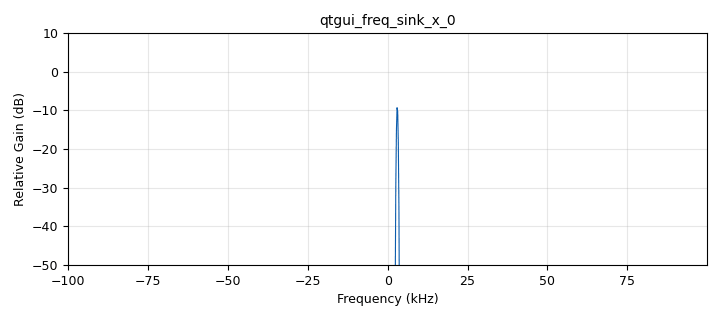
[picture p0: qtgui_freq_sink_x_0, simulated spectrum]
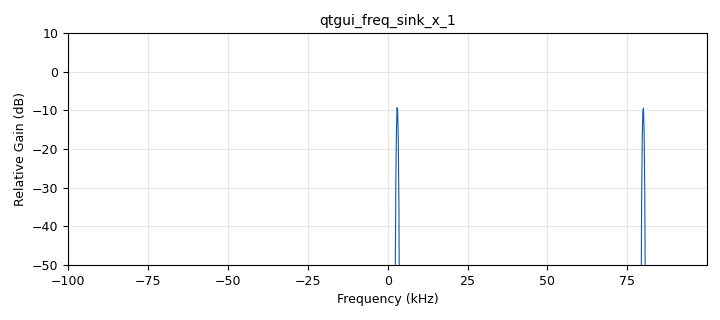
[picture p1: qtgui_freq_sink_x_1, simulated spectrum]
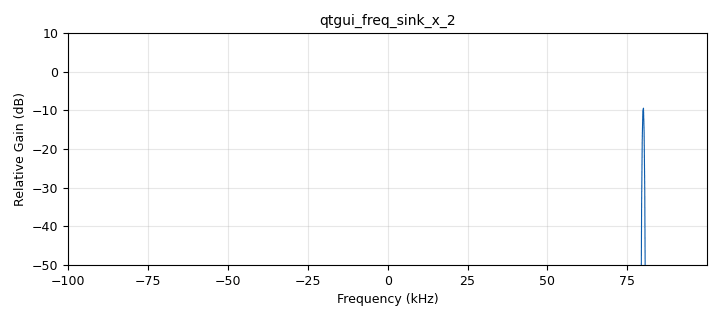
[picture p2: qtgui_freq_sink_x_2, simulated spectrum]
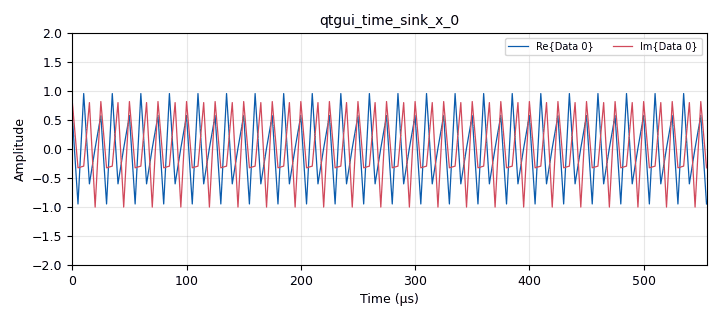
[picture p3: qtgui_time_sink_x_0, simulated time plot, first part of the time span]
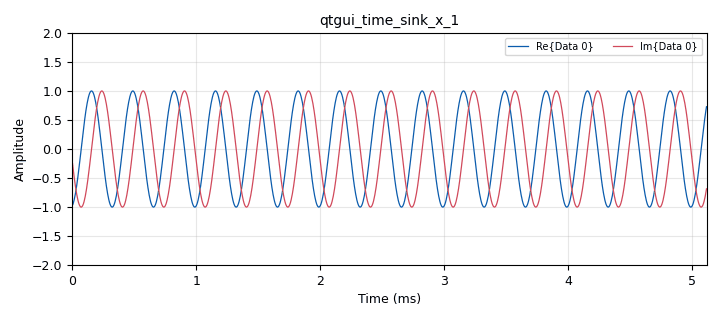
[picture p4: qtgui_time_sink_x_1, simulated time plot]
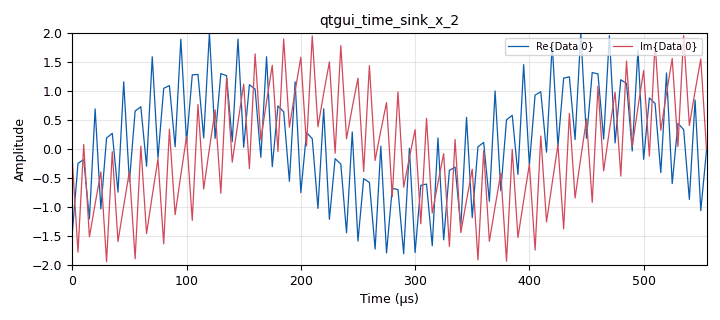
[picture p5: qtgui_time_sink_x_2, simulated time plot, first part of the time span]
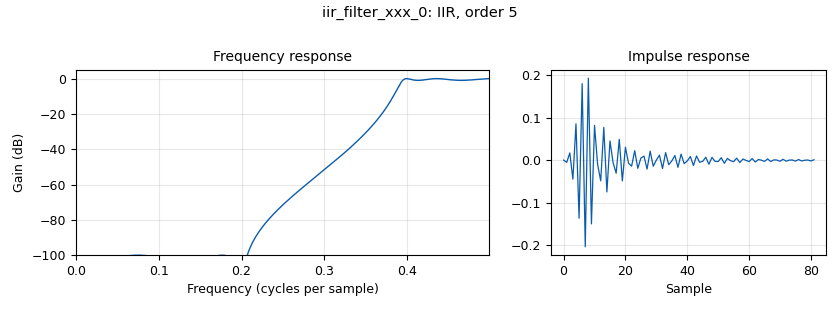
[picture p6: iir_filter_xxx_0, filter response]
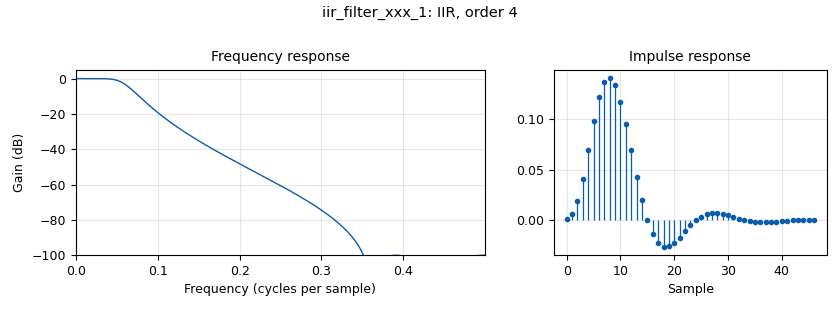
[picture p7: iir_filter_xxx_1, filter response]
options:
  parameters:
    author: teste
    generate_options: qt_gui
    id: top_block
    output_language: python
    title: Not titled yet
  states: {}

blocks:
- name: samp_rate
  id: variable
  parameters:
    value: '200000'
  states: {}
- name: aba
  id: qtgui_tab_widget
  parameters:
    label0: Sinal Original
    label1: Sinal Filtrado (passa-baixa)
    label2: Sinal Filtrado (passa-alta)
    num_tabs: '3'
  states: {}
- name: analog_sig_source_x_0
  id: analog_sig_source_x
  parameters:
    amp: '1'
    freq: '3000'
    offset: '0'
    phase: '0'
    samp_rate: samp_rate
    type: complex
    waveform: analog.GR_COS_WAVE
  states: {}
- name: analog_sig_source_x_1
  id: analog_sig_source_x
  parameters:
    amp: '1'
    freq: '80000'
    offset: '0'
    phase: '0'
    samp_rate: samp_rate
    type: complex
    waveform: analog.GR_COS_WAVE
  states: {}
- name: blocks_add_xx_0
  id: blocks_add_xx
  parameters:
    type: complex
  states: {}
- name: iir_filter_xxx_0
  id: iir_filter_xxx
  parameters:
    fbtaps: '[1.0,3.886576536439546,6.497021600781942,5.772697446945253,2.7147113511991576,0.5401386408247048]'
    fftaps: '[0.0007069823689963611,-0.002081894494812261,0.003371287021986987,-0.003371287021986989,0.0020818944948122636,-0.0007069823689963633]'
    oldstyle: 'False'
    type: ccf
  states: {}
- name: iir_filter_xxx_1
  id: iir_filter_xxx
  parameters:
    fbtaps: '[1.0,-3.0330610834096428,3.539976428340508,-1.8714822148129135,0.37679051845343337]'
    fftaps: '[0.0009638076722969962,0.003031358867233684,0.0042333154923235375,0.0030313588672336808,0.0009638076722969941]'
    oldstyle: 'False'
    type: ccf
  states: {}
- name: qtgui_freq_sink_x_0
  id: qtgui_freq_sink_x
  parameters:
    bw: samp_rate
    fc: '0'
    fftsize: '1024'
    gui_hint: aba@1:1,1
    type: complex
    ymin: '-50'
  states: {}
- name: qtgui_freq_sink_x_1
  id: qtgui_freq_sink_x
  parameters:
    bw: samp_rate
    fc: '0'
    fftsize: '1024'
    gui_hint: aba@0:1,1
    type: complex
    ymin: '-50'
  states: {}
- name: qtgui_freq_sink_x_2
  id: qtgui_freq_sink_x
  parameters:
    bw: samp_rate
    fc: '0'
    fftsize: '1024'
    gui_hint: aba@2:1,1
    type: complex
    ymin: '-50'
  states: {}
- name: qtgui_time_sink_x_0
  id: qtgui_time_sink_x
  parameters:
    gui_hint: aba@2:1,0
    size: '1024'
    srate: samp_rate
    type: complex
    ymax: '2'
    ymin: '-2'
  states: {}
- name: qtgui_time_sink_x_1
  id: qtgui_time_sink_x
  parameters:
    gui_hint: aba@1:1,0
    size: '1024'
    srate: samp_rate
    type: complex
    ymax: '2'
    ymin: '-2'
  states: {}
- name: qtgui_time_sink_x_2
  id: qtgui_time_sink_x
  parameters:
    gui_hint: aba@0:1,0
    size: '1024'
    srate: samp_rate
    type: complex
    ymax: '2'
    ymin: '-2'
  states: {}

connections:
- [analog_sig_source_x_0, '0', blocks_add_xx_0, '0']
- [analog_sig_source_x_1, '0', blocks_add_xx_0, '1']
- [blocks_add_xx_0, '0', iir_filter_xxx_0, '0']
- [blocks_add_xx_0, '0', iir_filter_xxx_1, '0']
- [blocks_add_xx_0, '0', qtgui_freq_sink_x_1, '0']
- [blocks_add_xx_0, '0', qtgui_time_sink_x_2, '0']
- [iir_filter_xxx_0, '0', qtgui_freq_sink_x_2, '0']
- [iir_filter_xxx_0, '0', qtgui_time_sink_x_0, '0']
- [iir_filter_xxx_1, '0', qtgui_freq_sink_x_0, '0']
- [iir_filter_xxx_1, '0', qtgui_time_sink_x_1, '0']

metadata:
  file_format: 1
